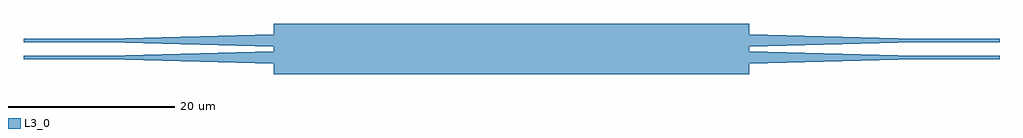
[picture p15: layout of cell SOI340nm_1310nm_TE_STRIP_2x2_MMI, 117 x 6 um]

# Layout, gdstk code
import gdstk
lib = gdstk.Library(unit=1e-6, precision=1e-09)
def R(c, l, rs):  # rectangles x0, y0, x1, y1
    for r in rs: c.add(gdstk.rectangle(r[:2], r[2:], *l))
def P(c, l, *ps):  # polygons
    for p in ps: c.add(gdstk.Polygon(p, *l))
L3_0 = (3, 0)

soi340nm_1310nm_te_strip = lib.new_cell('SOI340nm_1310nm_TE_STRIP_2x2_MMI')
R(soi340nm_1310nm_te_strip, L3_0, [(-28.5,-3,28.5,3), (-58.5,-1.2,-48.5,-0.8), (48.5,-1.2,58.5,-0.8), (-58.5,0.8,-48.5,1.2), (48.5,0.8,58.5,1.2)])
P(soi340nm_1310nm_te_strip, L3_0, [(-28.5,0.25),(-48.5,0.8),(-48.5,1.2),(-28.5,1.75)],
  [(-28.5,-1.75),(-48.5,-1.2),(-48.5,-0.8),(-28.5,-0.25)],
  [(28.5,0.25),(28.5,1.75),(48.5,1.2),(48.5,0.8)],
  [(28.5,-1.75),(28.5,-0.25),(48.5,-0.8),(48.5,-1.2)])

lib.write_gds('SOI340nm_1310nm_TE_STRIP_2x2_MMI.gds')
